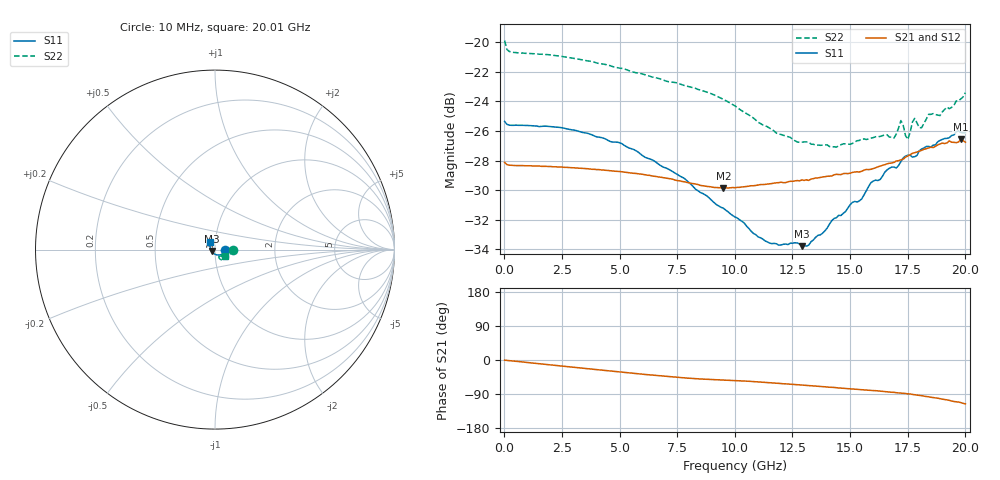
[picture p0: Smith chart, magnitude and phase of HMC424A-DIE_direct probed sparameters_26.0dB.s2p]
!s2p File: Measurements: S11, S21, S12, S22
# GHz S dB R 50.0
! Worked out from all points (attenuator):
!   201 points, 10 MHz to 20.01 GHz, reference 50 ohm
!   highest |S21| = -26.57 dB at 19.81 GHz (marker M1); lowest = -29.9 dB at 9.51 GHz (marker M2)
!   lowest |S11| = -33.8 dB at 12.91 GHz (marker M3), VSWR 1.04, Z = 48.2 - j0.789 ohm
!   |S11| at or under -10 dB: start of sweep to end of sweep
!   |S22| runs from -27.1 to -19.9 dB; largest |S21 - S12| = 0.00045
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0.01  -25.36 -0.2  -28.12 -0.4  -28.17 -0.3  -19.89 -1.6
0.11  -25.55 -1.5  -28.27 -1.2  -28.27 -1.2  -20.50 -2.9
0.31  -25.62 -2.4  -28.32 -2.3  -28.32 -2.3  -20.67 -3.5
3.41  -26.11 -23.9  -28.53 -21.7  -28.53 -21.7  -21.21 -25.5
5.01  -26.80 -37.1  -28.74 -31.5  -28.74 -31.5  -21.76 -36.0
6.71  -28.26 -51.8  -29.11 -41.5  -29.11 -41.5  -22.46 -45.5
9.51  -31.22 -84.5  -29.86 -52.9  -29.85 -52.8  -23.88 -60.2
10.01  -31.81 -92.1  -29.83 -54.4  -29.83 -54.2  -24.31 -62.2
11.51  -33.57 -122.3  -29.57 -59.9  -29.56 -59.8  -25.81 -63.3
12.91  -33.78 -156.4  -29.31 -66.1  -29.31 -66.1  -26.76 -58.9
13.41  -33.36 -168.1  -29.22 -68.0  -29.22 -68.0  -26.90 -57.1
14.41  -31.86 170.9  -28.93 -73.2  -28.94 -73.2  -27.09 -52.3
16.71  -28.52 138.4  -28.18 -84.6  -28.16 -84.5  -26.41 -46.3
16.91  -28.44 135.7  -28.12 -85.3  -28.05 -85.4  -26.48 -43.5
17.21  -28.08 136.2  -27.95 -87.4  -27.89 -87.7  -25.30 -43.7
17.51  -27.64 132.0  -27.69 -89.3  -27.72 -89.8  -26.57 -41.7
17.81  -27.74 129.1  -27.47 -91.7  -27.49 -91.8  -25.15 -41.0
18.11  -27.22 126.2  -27.31 -94.3  -27.35 -94.0  -25.78 -38.6
18.41  -27.04 123.3  -27.15 -96.9  -27.18 -96.9  -24.88 -37.4
18.91  -26.64 122.4  -26.88 -102.0  -26.87 -101.8  -24.96 -36.3
19.81  -26.10 120.2  -26.57 -112.4  -26.58 -112.4  -23.84 -33.1
20.01  -26.12 121.9  -26.76 -115.8  -26.73 -115.8  -23.42 -31.6
